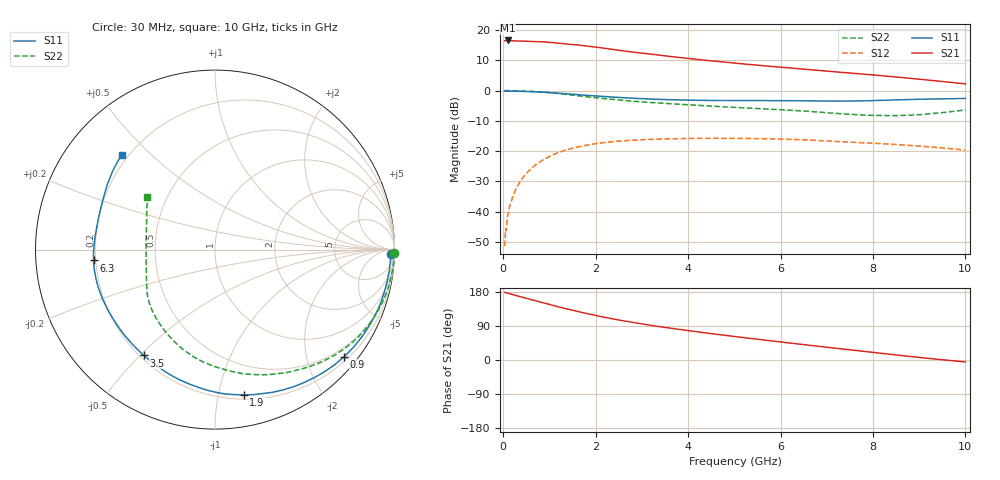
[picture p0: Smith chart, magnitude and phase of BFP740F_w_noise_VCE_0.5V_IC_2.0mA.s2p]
! Infineon Technologies  Discrete & RF Semiconductors
! BFP740F
! VCE =  0.5 V,  IC =  2.0 mA
! Common Emitter S-Parameters:  Oct 2012
# GHz  S  MA  R  50
!  f  S11  S21  S12  S22
! GHz  MAG  ANG  MAG  ANG  MAG  ANG  MAG  ANG
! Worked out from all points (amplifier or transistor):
!   99 points, 30 MHz to 10 GHz, reference 50 ohm
!   highest |S21| = 16.5 dB at 100 MHz (marker M1)
!   |S21| within 3 dB of that: start of sweep to 2.388 GHz
!   unconditionally stable (mu >= 1): 9.766 GHz to end of sweep
!   at 350 MHz: K = 0.00, MSG = 23.4 dB, |S12| = -30.5 dB
!   at 3.5 GHz: K = 0.24, MSG = 13.7 dB, |S12| = -16.0 dB
!   at 10 GHz: K = 1.03, MAG = 9.8 dB, |S12| = -19.7 dB
!   lowest NFmin = 0.37 dB at 450 MHz
!   S11 on the Smith chart (normalised r, x): 30 MHz: 44, -49; 900 MHz: 0.29, -2.75; 1.9 GHz: 0.23, -1.19; 3.5 GHz: 0.22, -0.51; 6.3 GHz: 0.19, -0.04; 10 GHz: 0.17, +0.41
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0.03  0.9799 -1.3  6.63 178.4  0.0027 89.6  0.9985 -1.0
0.05  0.9792 -2.2  6.673 178.0  0.0051 89.0  0.9983 -1.8
0.06  0.9787 -2.7  6.662 177.7  0.0048 82.6  0.9987 -2.1
0.1  0.9786 -4.5  6.712 176.2  0.0091 84.6  0.9977 -3.5
0.25  0.9749 -11.1  6.606 171.1  0.0215 82.7  0.993 -8.7
0.4  0.9695 -17.8  6.574 166.1  0.0344 78.3  0.9847 -13.9
0.9  0.9348 -39.6  6.346 149.8  0.0746 63.0  0.9355 -31.2
1.1  0.9142 -48.0  6.158 143.3  0.0886 56.9  0.9059 -37.9
1.3  0.8918 -56.1  5.956 137.1  0.101 51.1  0.8732 -44.4
1.7  0.8449 -71.7  5.552 125.5  0.1211 40.7  0.8071 -56.7
1.9  0.8249 -78.8  5.313 120.3  0.1292 35.9  0.7772 -62.6
2.2  0.7963 -89.2  4.977 112.5  0.139 28.9  0.7351 -71.5
2.5  0.7695 -98.1  4.622 105.6  0.1464 22.8  0.6998 -79.0
2.9  0.7413 -109.3  4.234 97.2  0.1527 15.7  0.6593 -88.2
3.4  0.714 -121.7  3.823 87.8  0.158 7.9  0.6209 -98.1
3.5  0.7104 -123.9  3.739 86.0  0.1587 6.4  0.6148 -99.8
4.3  0.69 -140.7  3.204 72.8  0.1625 -4.2  0.5651 -112.5
5.1  0.6844 -155.9  2.795 60.6  0.1622 -13.9  0.5227 -124.4
6.3  0.6796 -174.9  2.324 43.5  0.1556 -27.6  0.4682 -141.8
6.7  0.6744 178.8  2.186 37.9  0.1512 -31.9  0.448 -147.5
8.5  0.701 148.9  1.673 13.3  0.1288 -47.8  0.385 176.2
10  0.7406 134.5  1.289 -5.1  0.1039 -59.2  0.4776 142.1
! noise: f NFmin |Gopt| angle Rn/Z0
0.45  0.37  0.55  9  0.3
0.9  0.44  0.56  17  0.26
1.5  0.55  0.55  27  0.24
1.9  0.63  0.52  37  0.24
2.4  0.73  0.49  45  0.24
3.5  0.95  0.44  70  0.23
5.5  1.33  0.35  115  0.23
10  2.08  0.52  -136  0.1
